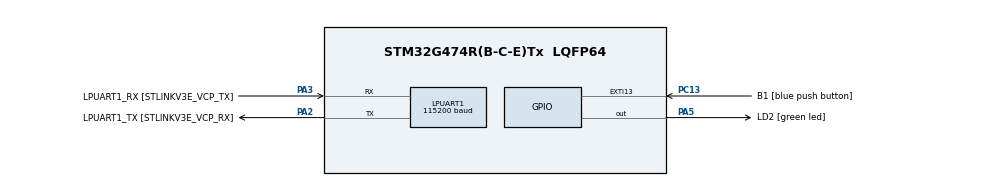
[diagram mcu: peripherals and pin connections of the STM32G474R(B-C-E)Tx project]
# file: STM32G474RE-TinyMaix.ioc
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LPUART1.BaudRate=115200
LPUART1.WordLength=UART_WORDLENGTH_8B
Mcu.Family=STM32G4
Mcu.Name=STM32G474R(B-C-E)Tx
Mcu.Package=LQFP64
NVIC.EXTI15_10_IRQn=true\:0\:0\:false\:false\:true\:true\:true\:true
NVIC.PriorityGroup=NVIC_PRIORITYGROUP_4
NVIC.TIM7_DAC_IRQn=true\:3\:0\:true\:false\:true\:true\:true\:true
PA13.GPIO_Label=T_SWDIO
PA13.Mode=Serial_Wire
PA13.Signal=SYS_JTMS-SWDIO
PA14.GPIO_Label=T_SWCLK
PA14.Mode=Serial_Wire
PA14.Signal=SYS_JTCK-SWCLK
PA2.GPIO_Label=LPUART1_TX [STLINKV3E_VCP_RX]
PA2.Mode=Asynchronous
PA2.Signal=LPUART1_TX
PA3.GPIO_Label=LPUART1_RX [STLINKV3E_VCP_TX]
PA3.Mode=Asynchronous
PA3.Signal=LPUART1_RX
PA5.GPIO_Label=LD2 [green led]
PA5.Signal=GPIO_Output
PB3.GPIO_Label=T_SWO
PB3.Signal=SYS_JTDO-SWO
PC13.GPIO_Label=B1 [blue push button]
PC13.Signal=GPXTI13
PC14-OSC32_IN.Mode=LSE-External-Oscillator
PC14-OSC32_IN.Signal=RCC_OSC32_IN
PC15-OSC32_OUT.Mode=LSE-External-Oscillator
PC15-OSC32_OUT.Signal=RCC_OSC32_OUT
PF0-OSC_IN.Mode=HSE-External-Oscillator
PF0-OSC_IN.Signal=RCC_OSC_IN
PF1-OSC_OUT.Mode=HSE-External-Oscillator
PF1-OSC_OUT.Signal=RCC_OSC_OUT
ProjectManager.HeapSize=0x200
ProjectManager.StackSize=0x400
ProjectManager.TargetToolchain=MDK-ARM V5.32
RCC.ADC12Freq_Value=170000000
RCC.ADC345Freq_Value=170000000
RCC.AHBFreq_Value=170000000
RCC.APB1Freq_Value=170000000
RCC.APB1TimFreq_Value=170000000
RCC.APB2Freq_Value=170000000
RCC.APB2TimFreq_Value=170000000
RCC.CortexFreq_Value=170000000
RCC.EXTERNAL_CLOCK_VALUE=12288000
RCC.HCLKFreq_Value=170000000
RCC.HSE_VALUE=24000000
RCC.HSI48_VALUE=48000000
RCC.HSI_VALUE=16000000
RCC.PLLM=RCC_PLLM_DIV6
RCC.PLLN=85
RCC.PLLSourceVirtual=RCC_PLLSOURCE_HSE
RCC.RTCClockSelection=RCC_RTCCLKSOURCE_LSE
RCC.SYSCLKFreq_VALUE=170000000
RCC.SYSCLKSource=RCC_SYSCLKSOURCE_PLLCLK
RCC.USBFreq_Value=170000000
RCC.VCOOutputFreq_Value=340000000
TIM7.AutoReloadPreload=TIM_AUTORELOAD_PRELOAD_ENABLE
TIM7.PeriodNoDither=1
TIM7.Prescaler=169
VP_SYS_VS_DBSignals.Mode=DisableDeadBatterySignals
VP_TIM7_VS_ClockSourceINT.Mode=Enable_Timer
board=NUCLEO-G474RE

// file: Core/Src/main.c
/* USER CODE BEGIN Header */
/**
  ******************************************************************************
  * @file           : main.c
  * @brief          : Main program body
  ******************************************************************************
  * @attention
  *
  * Copyright (c) 2022 STMicroelectronics.
  * All rights reserved.
  *
  * This software is licensed under terms that can be found in the LICENSE file
  * in the root directory of this software component.
  * If no LICENSE file comes with this software, it is provided AS-IS.
  *
  ******************************************************************************
  */
/* USER CODE END Header */
#include "main.h"
#include "usart.h"
#include "tim.h"
#include "gpio.h"

/* USER CODE BEGIN Includes */
#include "stdio.h"
#include "tinymaix.h"
/* USER CODE END Includes */

void SystemClock_Config(void);

/* USER CODE BEGIN 0 */

extern volatile uint32_t g_us_tick;

int fputc(int ch, FILE *f)
{
	/* Wait for TXE flag to be raised */
	while (!LL_LPUART_IsActiveFlag_TXE(LPUART1));
	LL_LPUART_TransmitData8(LPUART1, (uint8_t)ch);
	/* Wait for TC flag to be raised for last char */
	while (!LL_LPUART_IsActiveFlag_TC(LPUART1));
	return ch;
}

#define TEST_MNIST (1)
//#define TEST_CIFAR (1)
//#define TEST_VWW (1)
//#define TEST_MBNET (1)

#if TEST_MNIST
#include "model/mnist/mnist_valid_q.h"
uint8_t pic[28*28]={
  0,  0,  0,  0,  0,  0,  0,  0,  0,  0,  0,  0,  0,  0,  0,  0,  0,  0,  0,  0,  0,  0,  0,  0,  0,  0,  0,  0,
  0,  0,  0,  0,  0,  0,  0,  0,  0,  0,  0,  0,  0,  0,  0,  0,  0,  0,  0,  0,  0,  0,  0,  0,  0,  0,  0,  0,
  0,  0,  0,  0,  0,  0,  0,  0,  0,  0,  0,  0,  0,  0,  0,  0,  0,  0,  0,  0,  0,  0,  0,  0,  0,  0,  0,  0,
  0,  0,  0,  0,  0,  0,  0,  0,  0,  0,116,125,171,255,255,150, 93,  0,  0,  0,  0,  0,  0,  0,  0,  0,  0,  0,
  0,  0,  0,  0,  0,  0,  0,  0,  0,169,253,253,253,253,253,253,218, 30,  0,  0,  0,  0,  0,  0,  0,  0,  0,  0,
  0,  0,  0,  0,  0,  0,  0,  0,169,253,253,253,213,142,176,253,253,122,  0,  0,  0,  0,  0,  0,  0,  0,  0,  0,
  0,  0,  0,  0,  0,  0,  0, 52,250,253,210, 32, 12,  0,  6,206,253,140,  0,  0,  0,  0,  0,  0,  0,  0,  0,  0,
  0,  0,  0,  0,  0,  0,  0, 77,251,210, 25,  0,  0,  0,122,248,253, 65,  0,  0,  0,  0,  0,  0,  0,  0,  0,  0,
  0,  0,  0,  0,  0,  0,  0,  0, 31, 18,  0,  0,  0,  0,209,253,253, 65,  0,  0,  0,  0,  0,  0,  0,  0,  0,  0,
  0,  0,  0,  0,  0,  0,  0,  0,  0,  0,  0,  0,  0,117,247,253,198, 10,  0,  0,  0,  0,  0,  0,  0,  0,  0,  0,
  0,  0,  0,  0,  0,  0,  0,  0,  0,  0,  0,  0, 76,247,253,231, 63,  0,  0,  0,  0,  0,  0,  0,  0,  0,  0,  0,
  0,  0,  0,  0,  0,  0,  0,  0,  0,  0,  0,  0,128,253,253,144,  0,  0,  0,  0,  0,  0,  0,  0,  0,  0,  0,  0,
  0,  0,  0,  0,  0,  0,  0,  0,  0,  0,  0,176,246,253,159, 12,  0,  0,  0,  0,  0,  0,  0,  0,  0,  0,  0,  0,
  0,  0,  0,  0,  0,  0,  0,  0,  0,  0, 25,234,253,233, 35,  0,  0,  0,  0,  0,  0,  0,  0,  0,  0,  0,  0,  0,
  0,  0,  0,  0,  0,  0,  0,  0,  0,  0,198,253,253,141,  0,  0,  0,  0,  0,  0,  0,  0,  0,  0,  0,  0,  0,  0,
  0,  0,  0,  0,  0,  0,  0,  0,  0, 78,248,253,189, 12,  0,  0,  0,  0,  0,  0,  0,  0,  0,  0,  0,  0,  0,  0,
  0,  0,  0,  0,  0,  0,  0,  0, 19,200,253,253,141,  0,  0,  0,  0,  0,  0,  0,  0,  0,  0,  0,  0,  0,  0,  0,
  0,  0,  0,  0,  0,  0,  0,  0,134,253,253,173, 12,  0,  0,  0,  0,  0,  0,  0,  0,  0,  0,  0,  0,  0,  0,  0,
  0,  0,  0,  0,  0,  0,  0,  0,248,253,253, 25,  0,  0,  0,  0,  0,  0,  0,  0,  0,  0,  0,  0,  0,  0,  0,  0,
  0,  0,  0,  0,  0,  0,  0,  0,248,253,253, 43, 20, 20, 20, 20,  5,  0,  5, 20, 20, 37,150,150,150,147, 10,  0,
  0,  0,  0,  0,  0,  0,  0,  0,248,253,253,253,253,253,253,253,168,143,166,253,253,253,253,253,253,253,123,  0,
  0,  0,  0,  0,  0,  0,  0,  0,174,253,253,253,253,253,253,253,253,253,253,253,249,247,247,169,117,117, 57,  0,
  0,  0,  0,  0,  0,  0,  0,  0,  0,118,123,123,123,166,253,253,253,155,123,123, 41,  0,  0,  0,  0,  0,  0,  0,
  0,  0,  0,  0,  0,  0,  0,  0,  0,  0,  0,  0,  0,  0,  0,  0,  0,  0,  0,  0,  0,  0,  0,  0,  0,  0,  0,  0,
  0,  0,  0,  0,  0,  0,  0,  0,  0,  0,  0,  0,  0,  0,  0,  0,  0,  0,  0,  0,  0,  0,  0,  0,  0,  0,  0,  0,
  0,  0,  0,  0,  0,  0,  0,  0,  0,  0,  0,  0,  0,  0,  0,  0,  0,  0,  0,  0,  0,  0,  0,  0,  0,  0,  0,  0,
  0,  0,  0,  0,  0,  0,  0,  0,  0,  0,  0,  0,  0,  0,  0,  0,  0,  0,  0,  0,  0,  0,  0,  0,  0,  0,  0,  0,
  0,  0,  0,  0,  0,  0,  0,  0,  0,  0,  0,  0,  0,  0,  0,  0,  0,  0,  0,  0,  0,  0,  0,  0,  0,  0,  0,  0,
};
#define IMG_L 28
#define IMG_CH 1
#define CLASS_NUM (10)
char* labels[CLASS_NUM] = {"0", "1", "2", "3", "4", "5", "6", "7", "8", "9"};

#elif TEST_CIFAR
#include "model/cifar/cifar10_q.h"
#include "model/cifar/pic2.h"
#define IMG_L 32
#define IMG_CH 3
#define CLASS_NUM 10
char* labels[CLASS_NUM] = {"airplane", "automobile", "bird", "cat", "deer", "dog", "frog", "hrose", "ship", "truck"};

#elif TEST_VWW
#include "model/vww96/vww96_q.h"
#include "model/vww96/pic_person1.h"
#define IMG_L 96
#define IMG_CH 3
#define CLASS_NUM 2
char* labels[CLASS_NUM] = {"no-person", "person"};

#elif TEST_MBNET
#define IMG_L 96
#define IMG_CH 3
#define CLASS_NUM (1000)

#if IMG_L == 128
	#include "model/mbnet/pic128.h"
	#include "model/mbnet/mbnet128_0.25_q.h"
#elif IMG_L==96
	#include "model/mbnet/pic96.h"
	#include "model/mbnet/mbnet96_0.25_q.h"
#else
  #error "err pic size"
#endif

extern const char* labels[1000];
#endif

static tm_err_t layer_cb(tm_mdl_t* mdl, tml_head_t* lh)
{   //dump middle result
    int h = lh->out_dims[1];
    int w = lh->out_dims[2];
    int ch= lh->out_dims[3];
    mtype_t* output = TML_GET_OUTPUT(mdl, lh);
    #if 0
    TM_PRINTF("Layer %d callback ========\n", mdl->layer_i);
    for(int y=0; y<h; y++){
        TM_PRINTF("[");
        for(int x=0; x<w; x++){
            TM_PRINTF("[");
            for(int c=0; c<ch; c++){
            #if TM_MDL_TYPE == TM_MDL_FP32
                TM_PRINTF("%.3f,", output[(y*w+x)*ch+c]);
            #else
                TM_PRINTF("%.3f,", TML_DEQUANT(lh,output[(y*w+x)*ch+c]));
            #endif
            }
            TM_PRINTF("],");
        }
        TM_PRINTF("],\n");
    }
    TM_PRINTF("\n");
    #endif
    return TM_OK;
}

static void parse_output(tm_mat_t* outs)
{
    tm_mat_t out = outs[0];
    float* data  = out.dataf;
    float maxp = 0;
    int maxi = -1;
    for(int i = 0; i < CLASS_NUM; i++){
        printf("%d: %.3f\n", i, data[i]);
        if(data[i] > maxp) {
            maxi = i;
            maxp = data[i];
        }
    }
    TM_PRINTF("### Predict output is: Class %d, Lable %s, prob %.3f\n", maxi, labels[maxi], maxp);
    return;
}

static uint8_t mdl_buf[MDL_BUF_LEN];

/* USER CODE END 0 */

int main(void)
{

  /* MCU Configuration--------------------------------------------------------*/

  /* Reset of all peripherals, Initializes the Flash interface and the Systick. */
  LL_APB2_GRP1_EnableClock(LL_APB2_GRP1_PERIPH_SYSCFG);
  LL_APB1_GRP1_EnableClock(LL_APB1_GRP1_PERIPH_PWR);

  /* System interrupt init*/
  NVIC_SetPriorityGrouping(NVIC_PRIORITYGROUP_4);

  /** Disable the internal Pull-Up in Dead Battery pins of UCPD peripheral
  */
  LL_PWR_DisableUCPDDeadBattery();

  /* Configure the system clock */
  SystemClock_Config();

  /* Initialize all configured peripherals */
  MX_GPIO_Init();
  MX_LPUART1_UART_Init();
  MX_TIM7_Init();
  /* USER CODE BEGIN 2 */

	/* enable tim7 count */
	LL_TIM_EnableIT_UPDATE(TIM7);
	LL_TIM_EnableCounter(TIM7);

	/* Begin TinyMaix */
	TM_DBGT_INIT();
	TM_PRINTF("mnist demo\n");
	tm_mdl_t mdl;

	for (int i = 0; i < 28 * 28; i++) {
			TM_PRINTF("%3d,", pic[i]);
			if (i % 28 == 27)
					TM_PRINTF("\n");
	}

	tm_mat_t in_uint8 = {3,IMG_L,IMG_L,IMG_CH, (mtype_t*)pic};
	tm_mat_t in = {3,IMG_L,IMG_L,IMG_CH, NULL};
	tm_mat_t outs[1];
	tm_err_t res;
	tm_stat((tm_mdlbin_t*) mdl_data);

	res = tm_load(&mdl, mdl_data, mdl_buf, layer_cb, &in);
	if (res != TM_OK) {
			TM_PRINTF("tm model load err %d\n", res);
			goto end;
	}

#if (TM_MDL_TYPE == TM_MDL_INT8) || (TM_MDL_TYPE == TM_MDL_INT16)
	res = tm_preprocess(&mdl, TMPP_UINT2INT, &in_uint8, &in);
#else
	res = tm_preprocess(&mdl, TMPP_UINT2FP01, &in_uint8, &in);
#endif
	TM_DBGT_START();
	res = tm_run(&mdl, &in, outs);
	TM_DBGT("tm_run");
	if (res == TM_OK)
			parse_output(outs);
	else
			TM_PRINTF("tm run error: %d\n", res);
	tm_unload(&mdl);

  /* USER CODE END 2 */

  /* Infinite loop */
  /* USER CODE BEGIN WHILE */
end:
  while (1)
  {
    /* USER CODE END WHILE */
  }
}

void SystemClock_Config(void)
{
  LL_FLASH_SetLatency(LL_FLASH_LATENCY_4);
  while(LL_FLASH_GetLatency() != LL_FLASH_LATENCY_4)
  {
  }
  LL_PWR_EnableRange1BoostMode();
  LL_RCC_HSE_Enable();
   /* Wait till HSE is ready */
  while(LL_RCC_HSE_IsReady() != 1)
  {
  }

  LL_RCC_PLL_ConfigDomain_SYS(LL_RCC_PLLSOURCE_HSE, LL_RCC_PLLM_DIV_6, 85, LL_RCC_PLLR_DIV_2);
  LL_RCC_PLL_EnableDomain_SYS();
  LL_RCC_PLL_Enable();
   /* Wait till PLL is ready */
  while(LL_RCC_PLL_IsReady() != 1)
  {
  }

  LL_RCC_SetSysClkSource(LL_RCC_SYS_CLKSOURCE_PLL);
  LL_RCC_SetAHBPrescaler(LL_RCC_SYSCLK_DIV_2);
   /* Wait till System clock is ready */
  while(LL_RCC_GetSysClkSource() != LL_RCC_SYS_CLKSOURCE_STATUS_PLL)
  {
  }

  /* Insure 1?s transition state at intermediate medium speed clock based on DWT */
  CoreDebug->DEMCR |= CoreDebug_DEMCR_TRCENA_Msk;
  DWT->CTRL |= DWT_CTRL_CYCCNTENA_Msk;
  DWT->CYCCNT = 0;
  while(DWT->CYCCNT < 100);
  /* Set AHB prescaler*/
  LL_RCC_SetAHBPrescaler(LL_RCC_SYSCLK_DIV_1);
  LL_RCC_SetAPB1Prescaler(LL_RCC_APB1_DIV_1);
  LL_RCC_SetAPB2Prescaler(LL_RCC_APB2_DIV_1);

  LL_Init1msTick(170000000);

  LL_SetSystemCoreClock(170000000);
}

void Error_Handler(void)
{
  __disable_irq();
  while (1)
  {
  }
}
